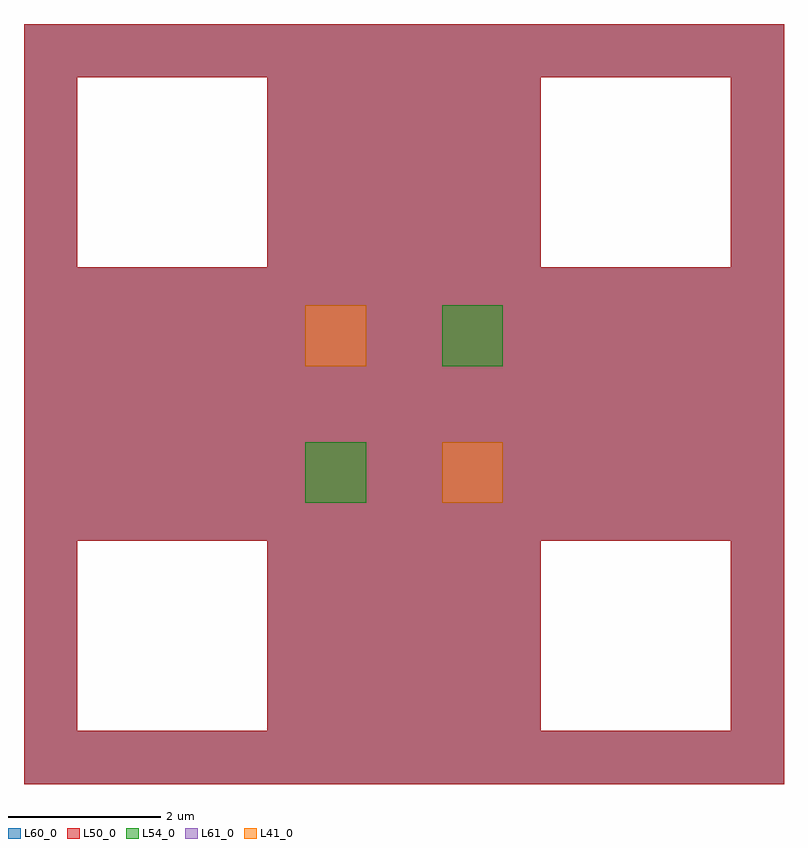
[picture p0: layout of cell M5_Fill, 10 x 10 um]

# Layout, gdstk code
import gdstk
lib = gdstk.Library(unit=1e-6, precision=1e-09)
def R(c, l, rs):  # rectangles x0, y0, x1, y1
    for r in rs: c.add(gdstk.rectangle(r[:2], r[2:], *l))
def P(c, l, *ps):  # polygons
    for p in ps: c.add(gdstk.Polygon(p, *l))
L41_0 = (41, 0)
L50_0 = (50, 0)
L54_0 = (54, 0)
L60_0 = (60, 0)
L61_0 = (61, 0)

m5_fill = lib.new_cell('M5_Fill')
R(m5_fill, L41_0, [(5.5,3.7,6.3,4.5), (3.7,5.5,4.5,6.3)])
P(m5_fill, L50_0, [(0,0),(0,3.2),(0.7,3.2),(0.7,0.7),(3.2,0.7),(3.2,3.2),(6.8,3.2),(6.8,0.7),(9.3,0.7),(9.3,3.2),(0,3.2),(0,9.3),(0.7,9.3),(0.7,6.8),(3.2,6.8),(3.2,9.3),(6.8,9.3),(6.8,6.8),(9.3,6.8),(9.3,9.3),(0,9.3),(0,10),(10,10),(10,0)])
R(m5_fill, L54_0, [(3.7,3.7,4.5,4.5), (5.5,5.5,6.3,6.3)])
P(m5_fill, L60_0, [(0,0),(0,3.2),(0.7,3.2),(0.7,0.7),(3.2,0.7),(3.2,3.2),(6.8,3.2),(6.8,0.7),(9.3,0.7),(9.3,3.2),(0,3.2),(0,9.3),(0.7,9.3),(0.7,6.8),(3.2,6.8),(3.2,9.3),(6.8,9.3),(6.8,6.8),(9.3,6.8),(9.3,9.3),(0,9.3),(0,10),(10,10),(10,0)])
R(m5_fill, L61_0, [(5.5,3.7,6.3,4.5), (3.7,5.5,4.5,6.3)])

lib.write_gds('M5_Fill.gds')
